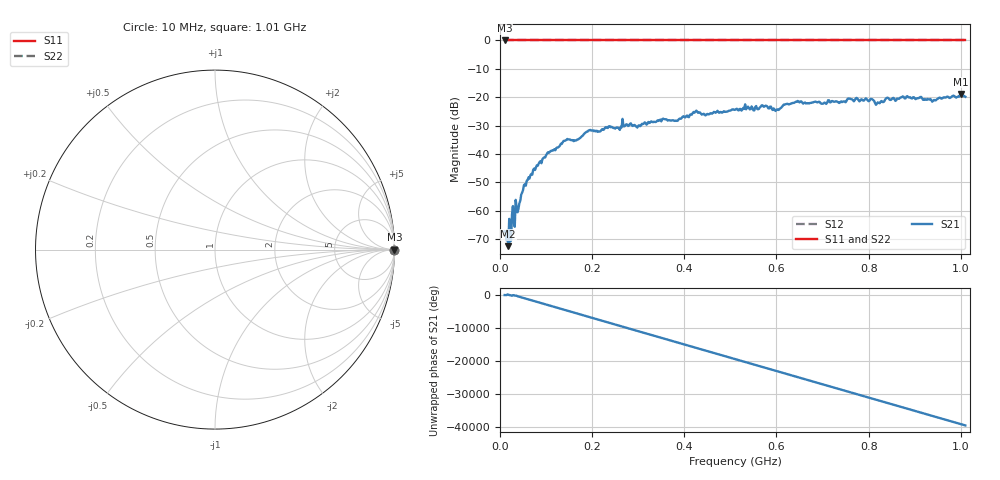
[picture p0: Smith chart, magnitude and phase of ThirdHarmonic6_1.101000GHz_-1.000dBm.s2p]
! 8/16/2025 10:21:51 AM
! C:\ANRITSUVNA\TEMP\TEMP.S2P
! CHANNEL.1
! TR.MEASUREMENT
! RAW.DATA
! RF.CORRECTION.OFF
! AVERAGING.OFF
! IF.BANDWIDTH: 5KHZ
! SWEEPTYPE:  FREQ.SWEEP(Linear)
! Reference Plane Port Info
! PORT:  PORT1  PORT2
! DISTANCE:  0  m  0  m
! TIME:  0  s  0  s
! PHASE.OFFSET:  0  deg.  0  deg.
! LOSS:  0  dB  0  dB
! REF.LOSS:  0  dB  0  dB
! REF.FREQ:  0  Hz  0  Hz
! Power Info
! POWER:  -20  dBm  -20  dBm
! EFF.POWER:  -20  dBm  -20  dBm
! SOURCE.ATTEN:  0  dB  0  dB
! TEST.ATTEN:  0  dB  0  dB
# GHZ S RI R 50.0
! FREQ.GHZ  S11RE  S11IM  S21RE  S21IM  S12RE  S12IM  S22RE  S22IM
!; PortSelection: Port_12
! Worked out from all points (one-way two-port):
!   501 points, 10 MHz to 1.01 GHz, reference 50 ohm
!   highest |S21| = -18.86 dB at 1 GHz (marker M1); lowest = -72.4 dB at 18 MHz (marker M2)
!   lowest |S11| = 0.0 dB at 10 MHz (marker M3)
!   |S11| at or under -10 dB: nowhere
!   |S22| runs from 0.0 to 0.0 dB; largest |S21 - S12| = 1.1
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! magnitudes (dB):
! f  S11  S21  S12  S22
! 10 MHz  0.0  -67.2  0.0  0.0
! 18 MHz  0.0  -72.4  0.0  0.0
! 28 MHz  0.0  -58.3  0.0  0.0
! 30 MHz  0.0  -63.9  0.0  0.0
! 42 MHz  0.0  -57.4  0.0  0.0
! 50 MHz  0.0  -52.6  0.0  0.0
! 76 MHz  0.0  -45.6  0.0  0.0
! 142 MHz  0.0  -35.2  0.0  0.0
! 178 MHz  0.0  -33.7  0.0  0.0
! 196 MHz  0.0  -31.5  0.0  0.0
! 344 MHz  0.0  -28.3  0.0  0.0
! 510 MHz  0.0  -24.4  0.0  0.0
! 572 MHz  0.0  -23.3  0.0  0.0
! 602 MHz  0.0  -24.3  0.0  0.0
! 644 MHz  0.0  -21.6  0.0  0.0
! 678 MHz  0.0  -21.8  0.0  0.0
! 758 MHz  0.0  -20.5  0.0  0.0
! 820 MHz  0.0  -21.8  0.0  0.0
! 844 MHz  0.0  -20.5  0.0  0.0
! 942 MHz  0.0  -20.9  0.0  0.0
! 1 GHz  0.0  -18.9  0.0  0.0
! 1.01 GHz  0.0  -19.8  0.0  0.0
